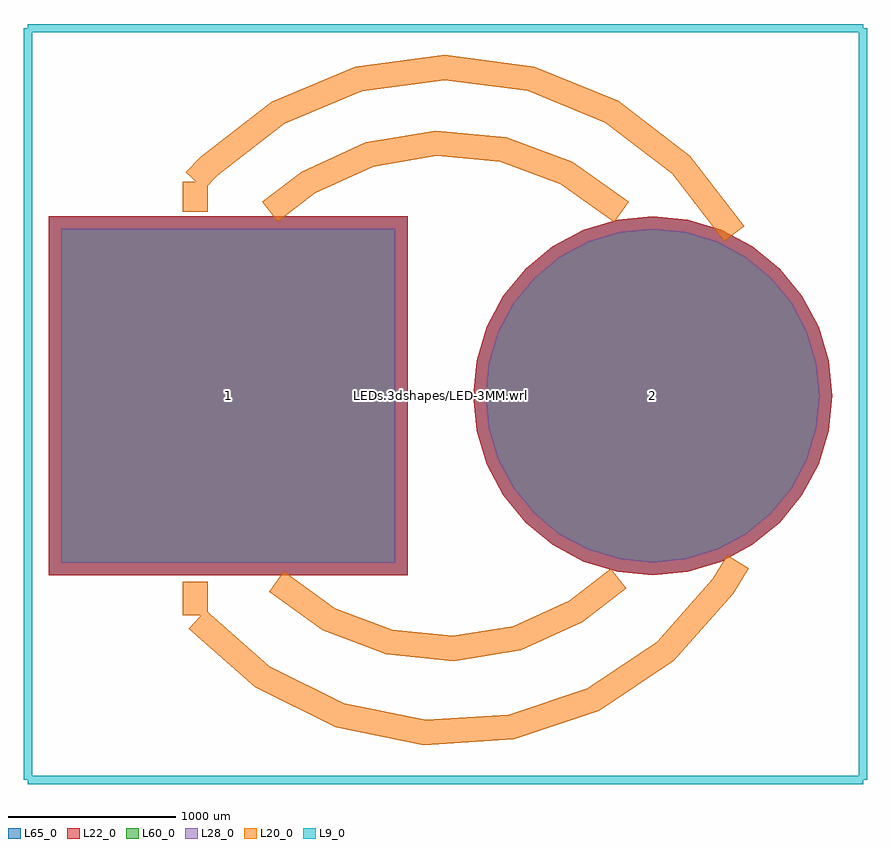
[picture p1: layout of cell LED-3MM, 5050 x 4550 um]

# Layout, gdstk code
import gdstk
lib = gdstk.Library(unit=1e-6, precision=1e-09)
def R(c, l, rs):  # rectangles x0, y0, x1, y1
    for r in rs: c.add(gdstk.rectangle(r[:2], r[2:], *l))
def P(c, l, *ps):  # polygons
    for p in ps: c.add(gdstk.Polygon(p, *l))
L9_0 = (9, 0)
L20_0 = (20, 0)
L22_0 = (22, 0)
L28_0 = (28, 0)
L60_0 = (60, 0)
L65_0 = (65, 0)

led_3mm = lib.new_cell('LED-3MM')
R(led_3mm, L22_0, [(-1075,-1075,1075,1075)])
P(led_3mm, L22_0, [(3615,0),(3594.344,209.722),(3533.17,411.385),(3433.83,597.238),(3300.14,760.14),(3137.238,893.83),(2951.385,993.17),(2749.722,1054.344),(2540,1075),(2330.278,1054.344),(2128.615,993.17),(1942.762,893.83),(1779.86,760.14),(1646.17,597.238),(1546.83,411.385),(1485.656,209.722),(1465,0),(1485.656,-209.722),(1546.83,-411.385),(1646.17,-597.238),(1779.86,-760.14),(1942.762,-893.83),(2128.615,-993.17),(2330.278,-1054.344),(2540,-1075),(2749.722,-1054.344),(2951.385,-993.17),(3137.238,-893.83),(3300.14,-760.14),(3433.83,-597.238),(3533.17,-411.385),(3594.344,-209.722)])
R(led_3mm, L28_0, [(-1000,-1000,1000,1000)])
P(led_3mm, L28_0, [(3540,0),(3520.785,195.09),(3463.88,382.683),(3371.47,555.57),(3247.107,707.107),(3095.57,831.47),(2922.683,923.88),(2735.09,980.785),(2540,1000),(2344.91,980.785),(2157.317,923.88),(1984.43,831.47),(1832.893,707.107),(1708.53,555.57),(1616.12,382.683),(1559.215,195.09),(1540,0),(1559.215,-195.09),(1616.12,-382.683),(1708.53,-555.57),(1832.893,-707.107),(1984.43,-831.47),(2157.317,-923.88),(2344.91,-980.785),(2540,-1000),(2735.09,-980.785),(2922.683,-923.88),(3095.57,-831.47),(3247.107,-707.107),(3371.47,-555.57),(3463.88,-382.683),(3520.785,-195.09)])
R(led_3mm, L60_0, [(-1000,-1000,1000,1000)])
P(led_3mm, L60_0, [(3540,0),(3520.785,195.09),(3463.88,382.683),(3371.47,555.57),(3247.107,707.107),(3095.57,831.47),(2922.683,923.88),(2735.09,980.785),(2540,1000),(2344.91,980.785),(2157.317,923.88),(1984.43,831.47),(1832.893,707.107),(1708.53,555.57),(1616.12,382.683),(1559.215,195.09),(1540,0),(1559.215,-195.09),(1616.12,-382.683),(1708.53,-555.57),(1832.893,-707.107),(1984.43,-831.47),(2157.317,-923.88),(2344.91,-980.785),(2540,-1000),(2735.09,-980.785),(2922.683,-923.88),(3095.57,-831.47),(3247.107,-707.107),(3371.47,-555.57),(3463.88,-382.683),(3520.785,-195.09)])
R(led_3mm, L65_0, [(-1075,-1075,1075,1075)])
P(led_3mm, L65_0, [(3615,0),(3594.344,209.722),(3533.17,411.385),(3433.83,597.238),(3300.14,760.14),(3137.238,893.83),(2951.385,993.17),(2749.722,1054.344),(2540,1075),(2330.278,1054.344),(2128.615,993.17),(1942.762,893.83),(1779.86,760.14),(1646.17,597.238),(1546.83,411.385),(1485.656,209.722),(1465,0),(1485.656,-209.722),(1546.83,-411.385),(1646.17,-597.238),(1779.86,-760.14),(1942.762,-893.83),(2128.615,-993.17),(2330.278,-1054.344),(2540,-1075),(2749.722,-1054.344),(2951.385,-993.17),(3137.238,-893.83),(3300.14,-760.14),(3433.83,-597.238),(3533.17,-411.385),(3594.344,-209.722)])
led_3mm.add(gdstk.FlexPath([(287.112,-1113.252),(600.99,-1338.891),(962.573,-1475.604),(1347.219,-1514.074),(1728.716,-1451.679),(2081.064,-1292.672),(2335,-1094)], 149.998, ends="flush", simple_path=True, layer=20, datatype=0))  # L20_0
led_3mm.add(gdstk.FlexPath([(-186.219,-1340.725),(203.003,-1683.708),(667.733,-1914.267),(1176.3,-2016.688),(1694.048,-1983.993),(2185.691,-1818.409),(2617.726,-1531.22),(2960.709,-1141.998),(3051,-994)], 149.998, ends="flush", simple_path=True, layer=20, datatype=0))  # L20_0
led_3mm.add(gdstk.FlexPath([(2353.005,1099.067),(2023.9,1332.738),(1645.53,1473.267),(1243.68,1511.08),(845.738,1443.597),(478.82,1275.419),(250,1100)], 149.998, ends="flush", simple_path=True, layer=20, datatype=0))  # L20_0
led_3mm.add(gdstk.FlexPath([(3028.744,969.643),(2710.111,1382.618),(2295.449,1699.052),(1813.017,1897.382),(1295.692,1964.092),(778.728,1894.635),(297.357,1693.744),(-115.618,1375.111),(-199,1286)], 149.998, ends="flush", simple_path=True, layer=20, datatype=0))  # L20_0
led_3mm.add(gdstk.FlexPath([(-199,1280),(-199,1100)], 149.998, ends="flush", simple_path=True, layer=20, datatype=0))  # L20_0
led_3mm.add(gdstk.FlexPath([(-199,-1314),(-199,-1114)], 149.998, ends="flush", simple_path=True, layer=20, datatype=0))  # L20_0
led_3mm.add(gdstk.FlexPath([(-1200,2200),(-1200,-2300)], 50, ends="flush", simple_path=True, layer=9, datatype=0))  # L9_0
led_3mm.add(gdstk.FlexPath([(3800,2200),(-1200,2200)], 50, ends="flush", simple_path=True, layer=9, datatype=0))  # L9_0
led_3mm.add(gdstk.FlexPath([(3800,-2300),(3800,2200)], 50, ends="flush", simple_path=True, layer=9, datatype=0))  # L9_0
led_3mm.add(gdstk.FlexPath([(-1200,-2300),(3800,-2300)], 50, ends="flush", simple_path=True, layer=9, datatype=0))  # L9_0
led_3mm.add(gdstk.Label('LEDs.3dshapes/LED-3MM.wrl', (1270,0), layer=12, texttype=0))
led_3mm.add(gdstk.Label('2', (2540,0), layer=28, texttype=0))
led_3mm.add(gdstk.Label('1', (0,0), layer=28, texttype=0))
led_3mm.add(gdstk.Label('K', (-1690,-1740), layer=9, texttype=0))
led_3mm.add(gdstk.Label('type', (1300,2900), layer=9, texttype=0))
led_3mm.add(gdstk.Label('devicename', (1910,-3060), layer=9, texttype=0))

lib.write_gds('LED-3MM.gds')
